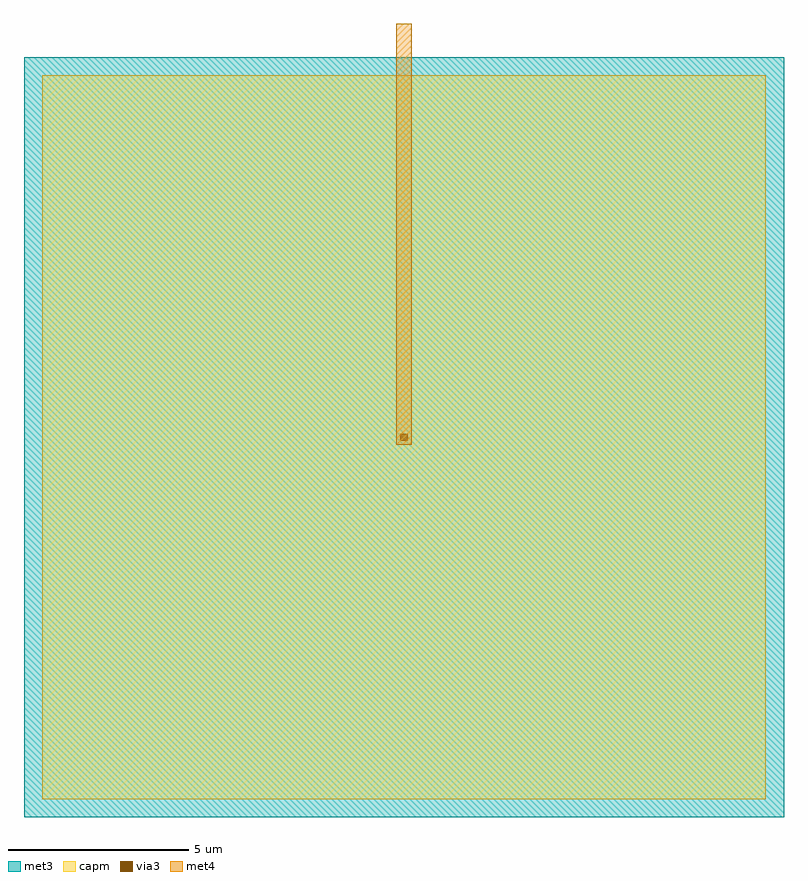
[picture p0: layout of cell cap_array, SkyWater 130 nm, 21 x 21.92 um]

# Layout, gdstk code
import gdstk
lib = gdstk.Library(unit=1e-6, precision=1e-09)
def R(c, l, rs):  # rectangles x0, y0, x1, y1
    for r in rs: c.add(gdstk.rectangle(r[:2], r[2:], *l))
met3 = (70, 20)
via3 = (70, 44)
met4 = (71, 20)
capm = (89, 44)

cap_array = lib.new_cell('cap_array')
R(cap_array, met3, [(0,0,21,21)])
R(cap_array, via3, [(10.4,10.4,10.6,10.6)])
R(cap_array, met4, [(10.29,10.29,10.71,10.71), (10.29,10.71,10.71,21.5), (10.29,21.5,10.71,21.92)])
R(cap_array, capm, [(0.5,0.5,20.5,20.5)])

lib.write_gds('cap_array.gds')
